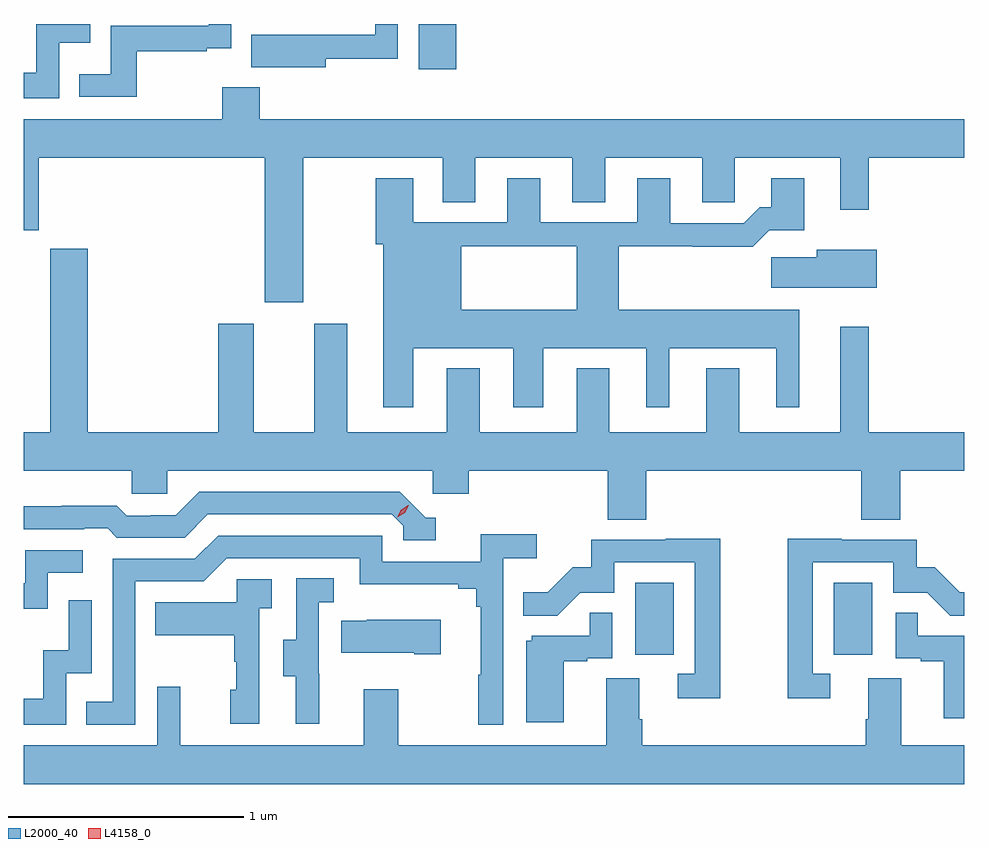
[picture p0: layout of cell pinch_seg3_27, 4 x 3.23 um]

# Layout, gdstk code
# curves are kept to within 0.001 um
import gdstk
lib = gdstk.Library(unit=1e-6, precision=1e-09)
def R(c, l, rs):  # rectangles x0, y0, x1, y1
    for r in rs: c.add(gdstk.rectangle(r[:2], r[2:], *l))
def P(c, l, *ps):  # polygons
    for p in ps: c.add(gdstk.Polygon(p, *l))
L2000_40 = (2000, 40)
L4158_0 = (4158, 0)

pinch_seg3_27 = lib.new_cell('pinch_seg3_27')
R(pinch_seg3_27, L2000_40, [(1103.978,742.758,1104.142,743.065), (1104.824,742.758,1104.988,743.065), (1103.057,745.248,1103.218,745.441)])
P(pinch_seg3_27, L2000_40, [(1102.663,745.294),(1102.968,745.294),(1102.968,745.441),(1102.872,745.441),(1102.872,745.395),(1102.559,745.395),(1102.559,745.396),(1102.345,745.396),(1102.345,745.256),(1102.663,745.256)],
  [(1101.528,745.361),(1101.66,745.361),(1101.66,745.441),(1101.431,745.441),(1101.431,745.234),(1101.378,745.234),(1101.378,745.125),(1101.528,745.125)],
  [(1101.859,745.326),(1102.157,745.326),(1102.157,745.337),(1102.26,745.337),(1102.26,745.441),(1102.164,745.441),(1102.164,745.434),(1101.748,745.434),(1101.748,745.228),(1101.613,745.228),(1101.613,745.131),(1101.859,745.131)],
  [(1102.567,744.872),(1103.159,744.872),(1103.159,744.682),(1103.299,744.682),(1103.299,744.872),(1103.711,744.872),(1103.711,744.682),(1103.851,744.682),(1103.851,744.872),(1104.263,744.872),(1104.263,744.682),(1104.402,744.682),(1104.402,744.872),(1104.851,744.872),(1104.851,744.651),(1104.973,744.651),(1104.973,744.872),(1105.378,744.872),(1105.378,745.036),(1102.382,745.036),(1102.382,745.171),(1102.222,745.171),(1102.222,745.036),(1101.378,745.036),(1101.378,744.563),(1101.442,744.563),(1101.442,744.872),(1102.403,744.872),(1102.403,744.258),(1102.567,744.258)],
  [(1103.035,743.811),(1103.035,744.062),(1103.459,744.062),(1103.459,743.811),(1103.587,743.811),(1103.587,744.062),(1104.026,744.062),(1104.026,743.811),(1104.124,743.811),(1104.124,744.062),(1104.578,744.062),(1104.578,743.811),(1104.676,743.811),(1104.676,744.226),(1103.909,744.226),(1103.909,744.496),(1104.223,744.496),(1104.223,744.494),(1104.479,744.494),(1104.548,744.563),(1104.697,744.563),(1104.697,744.784),(1104.557,744.784),(1104.557,744.661),(1104.508,744.661),(1104.441,744.594),(1104.127,744.594),(1104.127,744.784),(1103.987,744.784),(1103.987,744.597),(1103.575,744.597),(1103.575,744.784),(1103.435,744.784),(1103.435,744.597),(1103.035,744.597),(1103.035,744.784),(1102.876,744.784),(1102.876,744.504),(1102.907,744.504),(1102.907,744.226),(1103.239,744.226),(1103.239,744.496),(1103.731,744.496),(1103.731,744.226),(1102.907,744.226),(1102.907,743.811)],
  [(1104.026,743.54),(1104.941,743.54),(1104.941,743.332),(1105.106,743.332),(1105.106,743.54),(1105.378,743.54),(1105.378,743.704),(1104.973,743.704),(1104.973,744.154),(1104.851,744.154),(1104.851,743.704),(1104.421,743.704),(1104.421,743.977),(1104.281,743.977),(1104.281,743.704),(1103.869,743.704),(1103.869,743.977),(1103.729,743.977),(1103.729,743.704),(1103.317,743.704),(1103.317,743.977),(1103.177,743.977),(1103.177,743.704),(1102.753,743.704),(1102.753,744.166),(1102.613,744.166),(1102.613,743.704),(1102.357,743.704),(1102.357,744.166),(1102.205,744.166),(1102.205,743.704),(1101.65,743.704),(1101.65,744.484),(1101.49,744.484),(1101.49,743.704),(1101.378,743.704),(1101.378,743.54),(1101.837,743.54),(1101.837,743.442),(1101.987,743.442),(1101.987,743.54),(1103.118,743.54),(1103.118,743.442),(1103.27,743.442),(1103.27,743.54),(1103.861,743.54),(1103.861,743.332),(1104.026,743.332)],
  [(1105.006,744.481),(1104.752,744.481),(1104.752,744.449),(1104.558,744.449),(1104.558,744.32),(1105.006,744.32)],
  [(1103.131,743.34),(1103.088,743.34),(1102.977,743.451),(1102.124,743.451),(1102.025,743.352),(1101.918,743.352),(1101.918,743.349),(1101.815,743.349),(1101.773,743.392),(1101.54,743.392),(1101.54,743.389),(1101.378,743.389),(1101.378,743.292),(1101.635,743.292),(1101.635,743.295),(1101.734,743.295),(1101.773,743.256),(1102.062,743.256),(1102.161,743.355),(1102.944,743.355),(1102.992,743.307),(1102.992,743.244),(1103.131,743.244)],
  [(1101.852,743.07),(1102.143,743.07),(1102.242,743.169),(1102.806,743.169),(1102.806,743.057),(1103.225,743.057),(1103.225,743.038),(1103.302,743.038),(1103.302,742.961),(1103.321,742.961),(1103.321,742.673),(1103.31,742.673),(1103.31,742.461),(1103.418,742.461),(1103.418,743.168),(1103.56,743.168),(1103.56,743.27),(1103.321,743.27),(1103.321,743.154),(1102.902,743.154),(1102.902,743.265),(1102.205,743.265),(1102.106,743.166),(1101.756,743.166),(1101.756,742.557),(1101.643,742.557),(1101.643,742.461),(1101.852,742.461)],
  [(1104.34,743.252),(1104.109,743.252),(1104.109,743.247),(1103.791,743.247),(1103.791,743.13),(1103.714,743.13),(1103.607,743.023),(1103.503,743.023),(1103.503,742.924),(1103.647,742.924),(1103.745,743.022),(1103.889,743.022),(1103.889,743.151),(1104.231,743.151),(1104.231,742.677),(1104.159,742.677),(1104.159,742.572),(1104.34,742.572)],
  [(1104.808,742.677),(1104.735,742.677),(1104.735,743.151),(1105.077,743.151),(1105.077,743.022),(1105.221,743.022),(1105.319,742.924),(1105.378,742.924),(1105.378,743.023),(1105.359,743.023),(1105.252,743.13),(1105.176,743.13),(1105.176,743.247),(1104.857,743.247),(1104.857,743.252),(1104.627,743.252),(1104.627,742.572),(1104.808,742.572)],
  [(1101.48,743.106),(1101.628,743.106),(1101.628,743.202),(1101.384,743.202),(1101.384,743.061),(1101.378,743.061),(1101.378,742.953),(1101.48,742.953)],
  [(1102.634,742.677),(1102.632,742.677),(1102.632,742.981),(1102.696,742.981),(1102.696,743.084),(1102.536,743.084),(1102.536,742.821),(1102.481,742.821),(1102.481,742.666),(1102.535,742.666),(1102.535,742.464),(1102.634,742.464)],
  [(1102.38,742.955),(1102.432,742.955),(1102.432,743.079),(1102.284,743.079),(1102.284,742.981),(1101.937,742.981),(1101.937,742.841),(1102.272,742.841),(1102.272,742.727),(1102.282,742.727),(1102.282,742.608),(1102.256,742.608),(1102.256,742.464),(1102.38,742.464)],
  [(1101.558,742.68),(1101.666,742.68),(1101.666,742.99),(1101.57,742.99),(1101.57,742.778),(1101.461,742.778),(1101.461,742.57),(1101.378,742.57),(1101.378,742.461),(1101.558,742.461)],
  [(1103.674,742.731),(1103.774,742.731),(1103.774,742.743),(1103.88,742.743),(1103.88,742.937),(1103.785,742.937),(1103.785,742.839),(1103.538,742.839),(1103.538,742.818),(1103.516,742.818),(1103.516,742.47),(1103.674,742.47)],
  [(1105.378,742.839),(1105.181,742.839),(1105.181,742.937),(1105.086,742.937),(1105.086,742.743),(1105.193,742.743),(1105.193,742.731),(1105.292,742.731),(1105.292,742.488),(1105.378,742.488)],
  [(1103.152,742.906),(1102.837,742.906),(1102.837,742.903),(1102.729,742.903),(1102.729,742.766),(1103.039,742.766),(1103.039,742.759),(1103.152,742.759)],
  [(1105.378,742.372),(1105.111,742.372),(1105.111,742.658),(1104.971,742.658),(1104.971,742.484),(1104.959,742.484),(1104.959,742.372),(1104.008,742.372),(1104.008,742.484),(1103.995,742.484),(1103.995,742.658),(1103.855,742.658),(1103.855,742.372),(1102.971,742.372),(1102.971,742.612),(1102.823,742.612),(1102.823,742.372),(1102.043,742.372),(1102.043,742.621),(1101.945,742.621),(1101.945,742.372),(1101.378,742.372),(1101.378,742.208),(1105.378,742.208)])
P(pinch_seg3_27, L4158_0, [(1102.967,743.342),(1102.967,743.342),(1102.983,743.375),(1103.014,743.394),(1103.015,743.394),(1103.015,743.393),(1102.998,743.361),(1102.967,743.342)])

lib.write_gds('pinch_seg3_27.gds')
